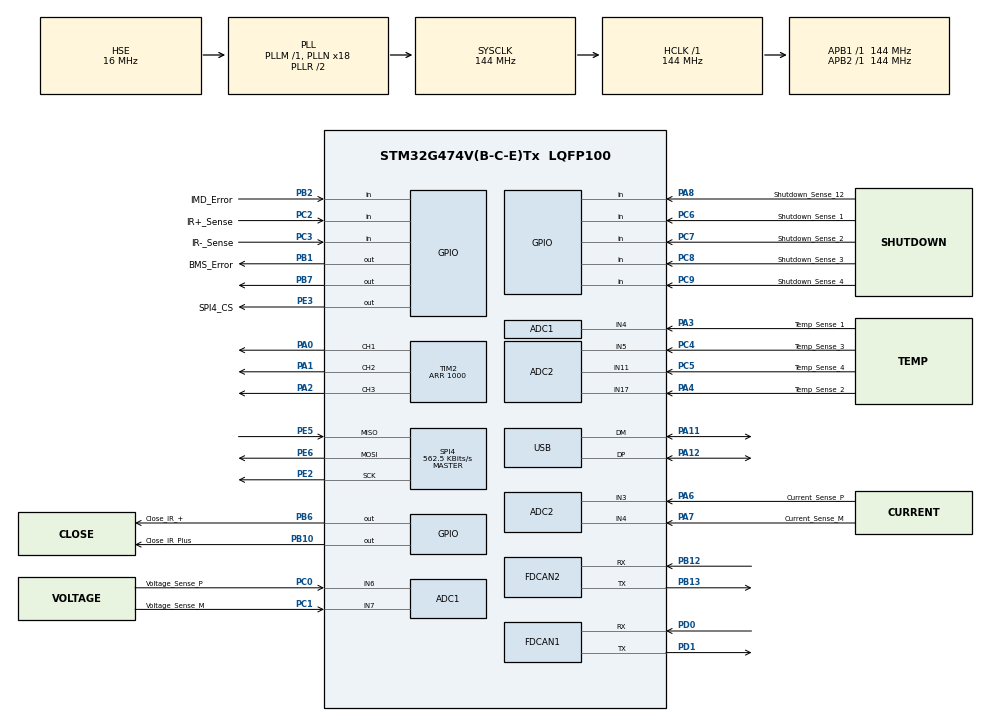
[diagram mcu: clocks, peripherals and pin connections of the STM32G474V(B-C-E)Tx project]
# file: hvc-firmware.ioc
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ADC1.Channel-0\#ChannelRegularConversion=ADC_CHANNEL_4
ADC1.NbrOfConversionFlag=1
ADC1.OffsetNumber-0\#ChannelRegularConversion=ADC_OFFSET_NONE
ADC1.Rank-0\#ChannelRegularConversion=1
ADC1.SamplingTime-0\#ChannelRegularConversion=ADC_SAMPLETIME_2CYCLES_5
ADC1.master=1
ADC2.Channel-0\#ChannelRegularConversion=ADC_CHANNEL_3
ADC2.NbrOfConversionFlag=1
ADC2.OffsetNumber-0\#ChannelRegularConversion=ADC_OFFSET_NONE
ADC2.Rank-0\#ChannelRegularConversion=1
ADC2.SamplingTime-0\#ChannelRegularConversion=ADC_SAMPLETIME_2CYCLES_5
ADC2.SingleDiff-0\#ChannelRegularConversion=ADC_DIFFERENTIAL_ENDED
FDCAN1.AutoRetransmission=ENABLE
FDCAN1.CalculateBaudRateNominal=1000000
FDCAN1.CalculateTimeBitNominal=1000
FDCAN1.CalculateTimeQuantumNominal=125.0
FDCAN1.NominalPrescaler=6
FDCAN1.NominalTimeSeg1=5
FDCAN1.NominalTimeSeg2=2
FDCAN2.AutoRetransmission=ENABLE
FDCAN2.CalculateBaudRateNominal=1000000
FDCAN2.CalculateTimeBitNominal=1000
FDCAN2.CalculateTimeQuantumNominal=125.0
FDCAN2.NominalPrescaler=6
FDCAN2.NominalTimeSeg1=5
FDCAN2.NominalTimeSeg2=2
FREERTOS.Tasks01=defaultTask,24,2048,StartDefaultTask,Default,NULL,Dynamic,NULL,NULL
FREERTOS.configTOTAL_HEAP_SIZE=65536
Mcu.Family=STM32G4
Mcu.Name=STM32G474V(B-C-E)Tx
Mcu.Package=LQFP100
NVIC.FDCAN1_IT0_IRQn=true\:5\:0\:false\:false\:true\:true\:true\:true\:true
NVIC.FDCAN1_IT1_IRQn=true\:5\:0\:false\:false\:true\:true\:true\:true\:true
NVIC.PriorityGroup=NVIC_PRIORITYGROUP_4
NVIC.TIM6_DAC_IRQn=true\:15\:0\:false\:false\:true\:false\:false\:true\:true
NVIC.TimeBase=TIM6_DAC_IRQn
NVIC.TimeBaseIP=TIM6
NVIC.USB_LP_IRQn=true\:5\:0\:false\:false\:true\:true\:false\:true\:true
PA0.Signal=S_TIM2_CH1
PA1.Signal=S_TIM2_CH2
PA11.Mode=Device
PA11.Signal=USB_DM
PA12.Mode=Device
PA12.Signal=USB_DP
PA13.Mode=Trace_Asynchronous_SW
PA13.Signal=SYS_JTMS-SWDIO
PA14.Mode=Trace_Asynchronous_SW
PA14.Signal=SYS_JTCK-SWCLK
PA2.Signal=S_TIM2_CH3
PA3.GPIO_Label=Temp_Sense_1
PA3.Mode=IN4-Single-Ended
PA3.Signal=ADC1_IN4
PA4.GPIO_Label=Temp_Sense_2
PA4.Mode=IN17-Single-Ended
PA4.Signal=ADC2_IN17
PA6.GPIO_Label=Current_Sense_P
PA6.Mode=IN3-Differential
PA6.Signal=ADC2_IN3
PA7.GPIO_Label=Current_Sense_M
PA7.Mode=IN3-Differential
PA7.Signal=ADC2_IN4
PA8.GPIO_Label=Shutdown_Sense_12
PA8.Signal=GPIO_Input
PB1.GPIO_Label=BMS_Error
PB1.Signal=GPIO_Output
PB10.GPIO_Label=Close_IR_Plus
PB10.Signal=GPIO_Output
PB12.Mode=FDCAN_Activate
PB12.Signal=FDCAN2_RX
PB13.Mode=FDCAN_Activate
PB13.Signal=FDCAN2_TX
PB2.GPIO_Label=IMD_Error
PB2.Signal=GPIO_Input
PB3.Mode=Trace_Asynchronous_SW
PB3.Signal=SYS_JTDO-SWO
PB6.GPIO_Label=Close_IR_+
PB6.Signal=GPIO_Output
PB7.Signal=GPIO_Output
PC0.GPIO_Label=Voltage_Sense_P
PC0.Mode=IN6-Differential
PC0.Signal=ADC1_IN6
PC1.GPIO_Label=Voltage_Sense_M
PC1.Mode=IN6-Differential
PC1.Signal=ADC1_IN7
PC2.GPIO_Label=IR+_Sense
PC2.Signal=GPIO_Input
PC3.GPIO_Label=IR-_Sense
PC3.Signal=GPIO_Input
PC4.GPIO_Label=Temp_Sense_3
PC4.Mode=IN5-Single-Ended
PC4.Signal=ADC2_IN5
PC5.GPIO_Label=Temp_Sense_4
PC5.Mode=IN11-Single-Ended
PC5.Signal=ADC2_IN11
PC6.GPIO_Label=Shutdown_Sense_1
PC6.Signal=GPIO_Input
PC7.GPIO_Label=Shutdown_Sense_2
PC7.Signal=GPIO_Input
PC8.GPIO_Label=Shutdown_Sense_3
PC8.Signal=GPIO_Input
PC9.GPIO_Label=Shutdown_Sense_4
PC9.Signal=GPIO_Input
PD0.Mode=FDCAN_Activate
PD0.Signal=FDCAN1_RX
PD1.Mode=FDCAN_Activate
PD1.Signal=FDCAN1_TX
PE2.Mode=Full_Duplex_Master
PE2.Signal=SPI4_SCK
PE3.GPIO_Label=SPI4_CS
PE3.PinState=GPIO_PIN_SET
PE3.Signal=GPIO_Output
PE5.Mode=Full_Duplex_Master
PE5.Signal=SPI4_MISO
PE6.Mode=Full_Duplex_Master
PE6.Signal=SPI4_MOSI
PF0-OSC_IN.Mode=HSE-External-Oscillator
PF0-OSC_IN.Signal=RCC_OSC_IN
PF1-OSC_OUT.Mode=HSE-External-Oscillator
PF1-OSC_OUT.Signal=RCC_OSC_OUT
ProjectManager.HeapSize=0x200
ProjectManager.StackSize=0x400
ProjectManager.TargetToolchain=Makefile
RCC.ADC12Freq_Value=144000000
RCC.ADC345Freq_Value=144000000
RCC.AHBFreq_Value=144000000
RCC.APB1Freq_Value=144000000
RCC.APB1TimFreq_Value=144000000
RCC.APB2Freq_Value=144000000
RCC.APB2TimFreq_Value=144000000
RCC.CortexFreq_Value=144000000
RCC.EXTERNAL_CLOCK_VALUE=12288000
RCC.FDCANCLockSelection=RCC_FDCANCLKSOURCE_PLL
RCC.HCLKFreq_Value=144000000
RCC.HSE_VALUE=16000000
RCC.HSI48_VALUE=48000000
RCC.HSI_VALUE=16000000
RCC.LSE_VALUE=32768
RCC.PLLN=18
RCC.PLLQ=RCC_PLLQ_DIV6
RCC.PLLSourceVirtual=RCC_PLLSOURCE_HSE
RCC.SYSCLKFreq_VALUE=144000000
RCC.SYSCLKSource=RCC_SYSCLKSOURCE_PLLCLK
RCC.USBFreq_Value=48000000
RCC.VCOOutputFreq_Value=288000000
SH.S_TIM2_CH1.0=TIM2_CH1,PWM Generation1 CH1
SH.S_TIM2_CH2.0=TIM2_CH2,PWM Generation2 CH2
SH.S_TIM2_CH3.0=TIM2_CH3,PWM Generation3 CH3
SPI4.BaudRatePrescaler=SPI_BAUDRATEPRESCALER_256
SPI4.CLKPhase=SPI_PHASE_2EDGE
SPI4.CLKPolarity=SPI_POLARITY_HIGH
SPI4.CalculateBaudRate=562.5 KBits/s
SPI4.DataSize=SPI_DATASIZE_8BIT
SPI4.Direction=SPI_DIRECTION_2LINES
SPI4.Mode=SPI_MODE_MASTER
SPI4.VirtualType=VM_MASTER
TIM2.Channel-PWM\ Generation1\ CH1=TIM_CHANNEL_1
TIM2.Channel-PWM\ Generation2\ CH2=TIM_CHANNEL_2
TIM2.Channel-PWM\ Generation3\ CH3=TIM_CHANNEL_3
TIM2.OCFastMode_PWM-PWM\ Generation1\ CH1=TIM_OCFAST_ENABLE
TIM2.OCFastMode_PWM-PWM\ Generation2\ CH2=TIM_OCFAST_ENABLE
TIM2.OCFastMode_PWM-PWM\ Generation3\ CH3=TIM_OCFAST_ENABLE
TIM2.OCPolarity_1=TIM_OCPOLARITY_LOW
TIM2.OCPolarity_2=TIM_OCPOLARITY_LOW
TIM2.OCPolarity_3=TIM_OCPOLARITY_LOW
TIM2.PeriodNoDither=1000
USB_DEVICE.CLASS_NAME_FS=CDC
USB_DEVICE.PRODUCT_STRING_CDC_FS=lhre High Voltage Controller
USB_DEVICE.VirtualMode=Cdc
USB_DEVICE.VirtualModeFS=Cdc_FS
VP_FREERTOS_VS_CMSIS_V2.Mode=CMSIS_V2
VP_SYS_VS_DBSignals.Mode=DisableDeadBatterySignals
VP_SYS_VS_tim6.Mode=TIM6
VP_TIM2_VS_ClockSourceINT.Mode=Internal
VP_USB_DEVICE_VS_USB_DEVICE_CDC_FS.Mode=CDC_FS
board=custom

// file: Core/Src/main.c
/* USER CODE BEGIN Header */
/**
 ******************************************************************************
 * @file           : main.c
 * @brief          : Main program body
 ******************************************************************************
 * @attention
 *
 * Copyright (c) 2025 STMicroelectronics.
 * All rights reserved.
 *
 * This software is licensed under terms that can be found in the LICENSE file
 * in the root directory of this software component.
 * If no LICENSE file comes with this software, it is provided AS-IS.
 *
 ******************************************************************************
 */
/* USER CODE END Header */
#include "main.h"
#include "cmsis_os.h"
#include "adc.h"
#include "fdcan.h"
#include "spi.h"
#include "tim.h"
#include "usb_device.h"
#include "gpio.h"

/* USER CODE BEGIN Includes */
#include "longhorn/rtos/dfu.h"
#include "longhorn/rtos/led.h"
#include "stdio.h"
/* USER CODE END Includes */

void SystemClock_Config(void);
void MX_FREERTOS_Init(void);

int main(void)
{

  /* MCU Configuration--------------------------------------------------------*/

  /* Reset of all peripherals, Initializes the Flash interface and the Systick. */
  HAL_Init();

  /* Configure the system clock */
  SystemClock_Config();

  /* Initialize all configured peripherals */
  MX_GPIO_Init();
  MX_ADC1_Init();
  MX_ADC2_Init();
  MX_FDCAN1_Init();
  MX_FDCAN2_Init();
  MX_SPI4_Init();
  MX_TIM2_Init();

  /* Init scheduler */
  osKernelInitialize();

  /* Call init function for freertos objects (in cmsis_os2.c) */
  MX_FREERTOS_Init();

  /* Start scheduler */
  osKernelStart();

  /* We should never get here as control is now taken by the scheduler */

  /* Infinite loop */
  while (1) {

  }
}

void SystemClock_Config(void)
{
  RCC_OscInitTypeDef RCC_OscInitStruct = {0};
  RCC_ClkInitTypeDef RCC_ClkInitStruct = {0};

  /** Configure the main internal regulator output voltage
  */
  HAL_PWREx_ControlVoltageScaling(PWR_REGULATOR_VOLTAGE_SCALE1);

  /** Initializes the RCC Oscillators according to the specified parameters
  * in the RCC_OscInitTypeDef structure.
  */
  RCC_OscInitStruct.OscillatorType = RCC_OSCILLATORTYPE_HSE;
  RCC_OscInitStruct.HSEState = RCC_HSE_ON;
  RCC_OscInitStruct.PLL.PLLState = RCC_PLL_ON;
  RCC_OscInitStruct.PLL.PLLSource = RCC_PLLSOURCE_HSE;
  RCC_OscInitStruct.PLL.PLLM = RCC_PLLM_DIV1;
  RCC_OscInitStruct.PLL.PLLN = 18;
  RCC_OscInitStruct.PLL.PLLP = RCC_PLLP_DIV2;
  RCC_OscInitStruct.PLL.PLLQ = RCC_PLLQ_DIV6;
  RCC_OscInitStruct.PLL.PLLR = RCC_PLLR_DIV2;
  if (HAL_RCC_OscConfig(&RCC_OscInitStruct) != HAL_OK)
  {
    Error_Handler();
  }

  /** Initializes the CPU, AHB and APB buses clocks
  */
  RCC_ClkInitStruct.ClockType = RCC_CLOCKTYPE_HCLK|RCC_CLOCKTYPE_SYSCLK
                              |RCC_CLOCKTYPE_PCLK1|RCC_CLOCKTYPE_PCLK2;
  RCC_ClkInitStruct.SYSCLKSource = RCC_SYSCLKSOURCE_PLLCLK;
  RCC_ClkInitStruct.AHBCLKDivider = RCC_SYSCLK_DIV1;
  RCC_ClkInitStruct.APB1CLKDivider = RCC_HCLK_DIV1;
  RCC_ClkInitStruct.APB2CLKDivider = RCC_HCLK_DIV1;

  if (HAL_RCC_ClockConfig(&RCC_ClkInitStruct, FLASH_LATENCY_4) != HAL_OK)
  {
    Error_Handler();
  }
}

void HAL_TIM_PeriodElapsedCallback(TIM_HandleTypeDef *htim)
{
  if (htim->Instance == TIM6)
  {
    HAL_IncTick();
  }
}

void Error_Handler(void)
{
  __disable_irq();
  while (1) {
  }
}

#ifdef  USE_FULL_ASSERT
/**
  * @brief  Reports the name of the source file and the source line number
  *         where the assert_param error has occurred.
  * @param  file: pointer to the source file name
  * @param  line: assert_param error line source number
  * @retval None
  */
void assert_failed(uint8_t *file, uint32_t line)
{
  /* USER CODE BEGIN 6 */
  /* User can add his own implementation to report the file name and line
     number, ex: printf("Wrong parameters value: file %s on line %d\r\n", file,
     line) */
  /* USER CODE END 6 */
}
#endif /* USE_FULL_ASSERT */

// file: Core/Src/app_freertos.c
/* USER CODE BEGIN Header */
/**
 ******************************************************************************
 * File Name          : app_freertos.c
 * Description        : Code for freertos applications
 ******************************************************************************
 * @attention
 *
 * Copyright (c) 2025 STMicroelectronics.
 * All rights reserved.
 *
 * This software is licensed under terms that can be found in the LICENSE file
 * in the root directory of this software component.
 * If no LICENSE file comes with this software, it is provided AS-IS.
 *
 ******************************************************************************
 */
/* USER CODE END Header */

#include "FreeRTOS.h"
#include "task.h"
#include "main.h"
#include "cmsis_os.h"

#include "usb_device.h"

/* USER CODE BEGIN Includes */
#include <stdint.h>

#include "FreeRTOS.h"
#include "adc.h"
#include "can.h"
#include "fdcan.h"
#include "gpio.h"
#include "longhorn/rtos/dfu.h"
#include "longhorn/rtos/led.h"
#include "longhorn/rtos/logger.h"
#include "longhorn/rtos/usb.h"
#include "longhorn/usb_base.h"
#include "tim.h"
#include "usbd_cdc_if.h"

/* HVC Application Modules */
#include "hvc_bms.h"
#include "hvc_contactors.h"
#include "hvc_faults.h"
#include "hvc_state_machine.h"
#include "hvc_vct_sense.h"
/* USER CODE END Includes */

/* USER CODE BEGIN PTD */
extern SPI_HandleTypeDef hspi4;
/* USER CODE END PTD */

/* USER CODE BEGIN Variables */

/* Definitions for stateMachineTask */
osThreadId_t bmsTaskHandle;
const osThreadAttr_t bmsTask_attributes = {
    .name = "bms_Task",
    .priority = (osPriority_t)osPriorityHigh2,
    .stack_size = 8192};
osThreadId_t stateMachineTaskHandle;
const osThreadAttr_t stateMachineTask_attributes = {
    .name = "stateMachine",
    .priority = (osPriority_t)osPriorityHigh,
    .stack_size = 4096};

/* USER CODE END Variables */
/* Definitions for defaultTask */
osThreadId_t defaultTaskHandle;
const osThreadAttr_t defaultTask_attributes = {
  .name = "defaultTask",
  .priority = (osPriority_t) osPriorityNormal,
  .stack_size = 2048 * 4
};

/* USER CODE BEGIN FunctionPrototypes */
void StartStateMachineTask(void *argument);
void StartBmsTask(void *argument);
/* USER CODE END FunctionPrototypes */

void StartDefaultTask(void *argument);

void MX_FREERTOS_Init(void); /* (MISRA C 2004 rule 8.1) */

void MX_FREERTOS_Init(void) {

  /* Create the thread(s) */
  /* creation of defaultTask */
  defaultTaskHandle = osThreadNew(StartDefaultTask, NULL, &defaultTask_attributes);

  /* USER CODE BEGIN RTOS_THREADS */
  /* add threads, ... */

  /* HVC State Machine Task - 10Hz update rate */
  stateMachineTaskHandle =
      osThreadNew(StartStateMachineTask, NULL, &stateMachineTask_attributes);
  bmsTaskHandle = osThreadNew(StartBmsTask, NULL, &bmsTask_attributes);
  /* Rainbow LED for visual feedback */
  rainbow_led_t led = {
      .ccr2 = &TIM2->CCR1,
      .ccr1 = &TIM2->CCR2,
      .ccr3 = &TIM2->CCR3,
      .channel1 = TIM_CHANNEL_1,
      .channel2 = TIM_CHANNEL_2,
      .channel3 = TIM_CHANNEL_3,
      .pwm_start = (HAL_PWM_Start_Fn)HAL_TIM_PWM_Start,
      .timer_handle = &htim2,
  };

  led_init(&led);
  led_start_thread();

  /* USER CODE END RTOS_THREADS */

}

void StartDefaultTask(void *argument)
{
  /* init code for USB_Device */
  MX_USB_Device_Init();
  /* USER CODE BEGIN StartDefaultTask */

  // Wait for USB to enumerate
  osDelay(3000);

  // CDC_Transmit_FS((uint8_t*)msg, strlen(msg));

  // usb_init(CDC_Transmit_FS)
  init_logging(CDC_Transmit_FS);

  const char *msg = "\r\n=== HVC Firmware Starting ===\r\n";
  log_printf(LOG_WARNING, msg);

  osDelay(100);

  // Initialize DFU
  dfu_config dfu = {
      .delay_fn = (Delay_fn)osDelay,
      .gpiox = GPIOB,
      .pin = GPIO_PIN_7,
      .pin_set_fn = (PinSet_fn)HAL_GPIO_WritePin,
      .reset_fn = (SystemReset_fn)HAL_NVIC_SystemReset,
  };

  init_dfu(dfu);

  dfu_start_thread();

  osThreadAttr_t fakeTask_attributes = {
      .name = "FakeTask",
      .priority = (osPriority_t)osPriorityLow,
      .stack_size = 128 * 8 * 2,
  };

  // osThreadNew(FakeTask, NULL, &fakeTask_attributes);
  //  can_init(&can_config);

  msg = "DFU initialized\r\n";
  log_printf(LOG_INFO, msg);

  msg = "System running\r\n";
  log_printf(LOG_INFO, msg);

  // Initialize CAN (contactor status, data, etc.)
  hvc_can_init();

  /* Infinite loop */
  for (;;) {
    // log_printf(LOG_INFO, "Tractive Voltage: %.2f V, Raw: %d\r\n",
    // get_tractive_voltage(), hvc_adc_read_voltage_sense_raw());
    // log_printf(LOG_INFO, "Is Shutdown Closed: %d\r\n",
    // is_shutdown_closed());
    osDelay(200);
  }
  /* USER CODE END StartDefaultTask */
}

/* USER CODE BEGIN Application */

/**
 * @brief State Machine Task
 * @details Runs at 10Hz to manage HVC states, precharge, and contactor control
 * @param argument Not used
 */

void StartStateMachineTask(void *argument) {
  // Wait for USB
  osDelay(3500);
  const char *msg = "State Machine initialized\r\n";
  log_printf(LOG_INFO, msg);
  osDelay(200);

  // Initialize state machine and contactors
  state_machine_init();
  contactors_init();
  faults_init();

  // Task loop - 10Hz update rate (100ms period)
  const uint32_t task_period_ms = 100;

  // state
  static bool bms_indicator_error = false;
  static bool imd_indicator_error = false;

  for (;;) {
    // Update state machine
    uint32_t current_fault_vector = get_faults();
    latch_faults(current_fault_vector);
    set_bms_fault_pin(current_fault_vector != 0);

    bool startup_complete = (osKernelGetTickCount() > 8000);
    if(startup_complete) {
      bms_indicator_error = bms_indicator_error || (current_fault_vector != 0);
      imd_indicator_error = imd_indicator_error || hvc_gpio_is_imd_error_active();
    }

    hvc_set_indicator_status(bms_indicator_error,
                             imd_indicator_error,
                             hvc_gpio_is_shutdown_leg1_closed(),
                             hvc_gpio_is_shutdown_leg2_closed(),
                             hvc_gpio_is_shutdown_leg3_closed(),
                             hvc_gpio_is_shutdown_leg4_closed());

    bool any_faults = (get_latched_faults() != 0) || !startup_complete;

    update_state_machine(any_faults);
    hvc_update_contactor_status();

    float pack_v = bms_get_pack_voltage();
    float tractive_v = get_tractive_voltage();
    float tractive_a = get_tractive_current();
    float raw_vsense_v = hvc_adc_read_voltage_sense_v();
    float min_v = bms_get_min_voltage();
    float max_v = bms_get_max_voltage();
    hvc_set_min_cell_voltage(min_v);
    hvc_set_max_cell_voltage(max_v);
    float delta_mv = (max_v - min_v) * 1000.0f;
    float min_temp_c = bms_get_min_temp();
    float max_temp_c = bms_get_max_temp();
    float avg_temp_c = bms_get_avg_temp();
    float max_die_temp_c = bms_get_max_die_temp();
    uint8_t responsive_ics = bms_get_num_responsive_ics();
    uint8_t balance_count = bms_get_balance_count();
    bool bms_disc = bms_check_disconnection();
    bool bms_uv = bms_check_undervoltage();
    bool bms_ov = bms_check_overvoltage();
    bool bms_ot = bms_check_overtemp();

    log_printf(LOG_INFO,
               "Pack: %.2f V, Tractive: %.2f V, Faults[live:0x%04lX latched:0x%04lX], "
               "Cell[min:%.5f max:%.5f dV:%.2f mV], Temp[min:%.1f max:%.1f avg:%.1f], "
               "Die[max:%.1f], "
               "BMS[resp:%u disc:%u uv:%u ov:%u ot:%u], "
               "State:%d Shdn:%d Bal:%u\n",
               pack_v, tractive_v,
               current_fault_vector, get_latched_faults(),
               min_v, max_v, delta_mv, min_temp_c, max_temp_c, avg_temp_c,
               max_die_temp_c,
               responsive_ics, bms_disc, bms_uv, bms_ov, bms_ot,
               get_current_state(), is_shutdown_closed(), balance_count);
    osDelay(task_period_ms);

    if(get_current_state() != HVC_STATE_ENERGIZED) {
      bms_print_all_cells();
    }
  }
}

/* USER CODE END Application */
